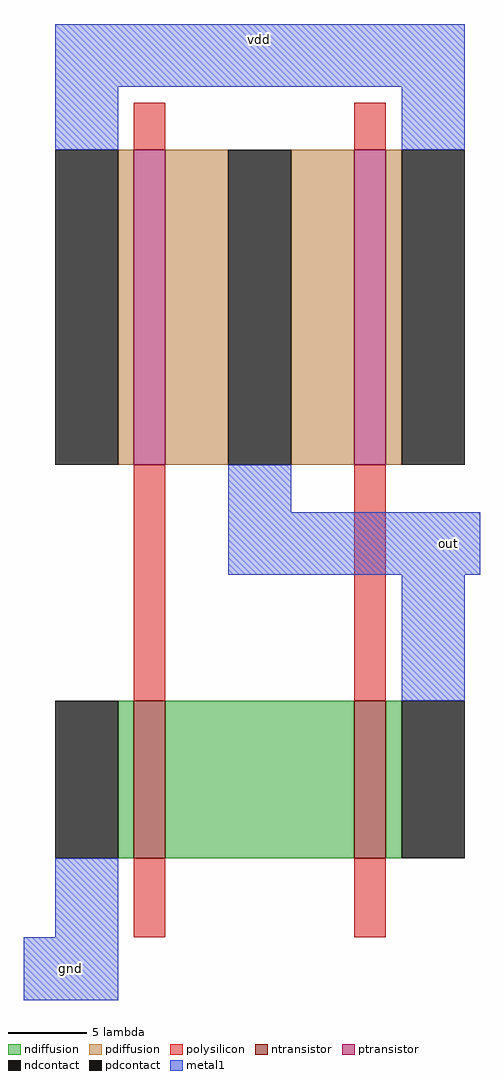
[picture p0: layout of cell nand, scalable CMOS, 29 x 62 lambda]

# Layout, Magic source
magic
tech scmos
<< ntransistor >>
rect -4 -25 -2 -15
rect 10 -25 12 -15
<< ptransistor >>
rect -4 0 -2 20
rect 10 0 12 20
<< ndiffusion >>
rect -5 -25 -4 -15
rect -2 -25 10 -15
rect 12 -25 13 -15
<< pdiffusion >>
rect -5 0 -4 20
rect -2 0 2 20
rect 6 0 10 20
rect 12 0 13 20
<< ndcontact >>
rect -9 -25 -5 -15
rect 13 -25 17 -15
<< pdcontact >>
rect -9 0 -5 20
rect 2 0 6 20
rect 13 0 17 20
<< polysilicon >>
rect -4 20 -2 23
rect 10 20 12 23
rect -4 -15 -2 0
rect 10 -15 12 0
rect -4 -30 -2 -25
rect 10 -30 12 -25
<< metal1 >>
rect -9 24 17 28
rect -9 20 -5 24
rect 13 20 17 24
rect 2 -3 6 0
rect 2 -7 18 -3
rect 13 -15 17 -7
rect -9 -30 -5 -25
rect -11 -34 -5 -30
<< labels >>
rlabel metal1 4 27 4 27 5 vdd
rlabel metal1 16 -5 16 -5 7 out
rlabel metal1 -8 -32 -8 -32 2 gnd
<< end >>
